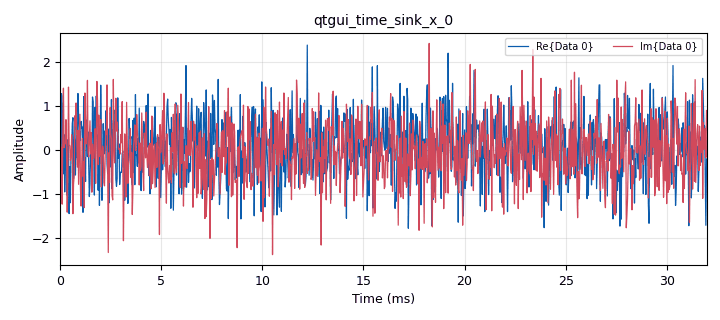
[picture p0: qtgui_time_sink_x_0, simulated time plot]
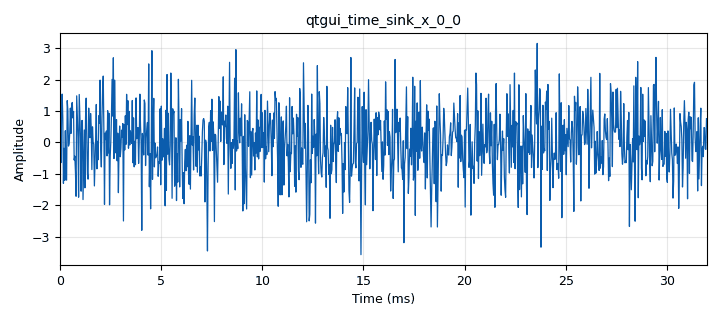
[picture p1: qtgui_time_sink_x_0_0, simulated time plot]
options:
  parameters:
    author: rcampello
    generate_options: qt_gui
    id: comp_float_complex
    output_language: python
    title: comp_float_complex
  states: {}

blocks:
- name: A
  id: variable_qtgui_range
  parameters:
    orient: Qt.Horizontal
    start: '0'
    step: '0.1'
    stop: '2'
    value: '1'
  states: {}
- name: samp_rate
  id: variable
  parameters:
    value: '32000'
  states: {}
- name: waveform
  id: variable_qtgui_chooser
  parameters:
    label0: Gaussian
    label1: Uniform
    num_opts: '2'
    option1: '200'
    type: int
    value: '201'
    widget: radio_buttons
  states: {}
- name: analog_noise_source_x_0
  id: analog_noise_source_x
  parameters:
    amp: A
    noise_type: waveform
    seed: '0'
    type: complex
  states: {}
- name: analog_noise_source_x_0_0
  id: analog_noise_source_x
  parameters:
    amp: A
    noise_type: waveform
    seed: '0'
    type: float
  states: {}
- name: blocks_throttle_0
  id: blocks_throttle
  parameters:
    samples_per_second: samp_rate
    type: complex
  states: {}
- name: blocks_throttle_0_0
  id: blocks_throttle
  parameters:
    samples_per_second: samp_rate
    type: float
  states: {}
- name: qtgui_time_sink_x_0
  id: qtgui_time_sink_x
  parameters:
    autoscale: 'True'
    grid: 'True'
    size: '1024'
    srate: samp_rate
    type: complex
  states: {}
- name: qtgui_time_sink_x_0_0
  id: qtgui_time_sink_x
  parameters:
    autoscale: 'True'
    grid: 'True'
    size: '1024'
    srate: samp_rate
    type: float
  states: {}

connections:
- [analog_noise_source_x_0, '0', blocks_throttle_0, '0']
- [analog_noise_source_x_0_0, '0', blocks_throttle_0_0, '0']
- [blocks_throttle_0, '0', qtgui_time_sink_x_0, '0']
- [blocks_throttle_0_0, '0', qtgui_time_sink_x_0_0, '0']

metadata:
  file_format: 1
